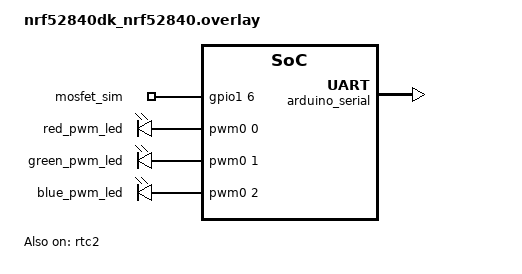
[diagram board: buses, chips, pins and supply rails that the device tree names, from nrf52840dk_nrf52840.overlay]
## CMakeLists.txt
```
cmake_minimum_required(VERSION 3.20.0)

find_package(Zephyr REQUIRED HINTS $ENV{ZEPHYR_BASE})
project(hub)

target_sources(app PRIVATE
  src/main.cpp
  src/utilities.cpp
  src/network.cpp
  src/token_settings.c
  src/ble.cpp
  src/serial.cpp
  src/alarm.c
  src/location.cpp
  src/network_requests.cpp
  src/conf.cpp
  src/battery.cpp
  src/diagnostic.cpp
)
```

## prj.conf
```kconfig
# Logging config
CONFIG_PRINTK=y
# CONFIG_LOG=y
# CONFIG_LOG_BACKEND_UART=y
# CONFIG_LOG_BACKEND_FORMAT_TIMESTAMP=n
# CONFIG_LOG_TRACE_SHORT_TIMESTAMP=y
# CONFIG_LOG_DEFAULT_LEVEL=4

# Uart over USB (CDC_ACM) config for nRF52840 Dongle
# COMMENT OUT BELOW FOR nRF52840 DK
CONFIG_USB_DEVICE_STACK=y
CONFIG_USB_DEVICE_PRODUCT="Zephyr USB console sample"
CONFIG_SERIAL=y
CONFIG_CONSOLE=y
CONFIG_UART_CONSOLE=y
CONFIG_UART_LINE_CTRL=y
CONFIG_USB_DEVICE_PID=0x0004
CONFIG_USB_DEVICE_INITIALIZE_AT_BOOT=n


# CPP and core libraries config
CONFIG_CPP=y
CONFIG_FPU=y

# Networking
CONFIG_CJSON_LIB=y
CONFIG_NEWLIB_LIBC=y
CONFIG_NEWLIB_LIBC_FLOAT_PRINTF=y

# Peristent data storage config
CONFIG_FLASH=y
CONFIG_FLASH_MAP=y
CONFIG_SETTINGS=y
CONFIG_NVS=y
CONFIG_SETTINGS_NVS=y

# LED config
CONFIG_PWM=y

# Bluetooth config
CONFIG_BT=y
CONFIG_BT_MAX_CONN=2

CONFIG_BT_PERIPHERAL=y
CONFIG_BT_DEVICE_NAME="HandleIt Hub"
CONFIG_BT_DEBUG_LOG=y
# CONFIG_BT_LOG_LEVEL_INF=y
CONFIG_BT_BAS=y

CONFIG_BT_CENTRAL=y
CONFIG_BT_SCAN=y
CONFIG_BT_SCAN_FILTER_ENABLE=y
CONFIG_BT_SCAN_NAME_CNT=1
# CONFIG_BT_BACKGROUND_SCAN_INTERVAL=8192
# CONFIG_BT_BACKGROUND_SCAN_WINDOW=18

# Needed for using GATT_DM
CONFIG_BT_SMP=y
CONFIG_BT_GATT_CLIENT=y
CONFIG_BT_GATT_DM=y
CONFIG_HEAP_MEM_POOL_SIZE=1024
CONFIG_BT_GATT_DM_DATA_PRINT=y
CONFIG_BT_DIS=y
CONFIG_BT_DIS_SW_REV=y
CONFIG_BT_BAS_CLIENT=y

# Adding sensors fails without this https://github.com/zephyrproject-rtos/zephyr/issues/13396
CONFIG_BT_AUTO_PHY_UPDATE=n

######### START OTA DFU
# In future we might be able to switch to this command. Currently it increases memory usage
# CONFIG_NCS_SAMPLE_MCUMGR_BT_OTA_DFU=y
# Enable mcumgr
CONFIG_MCUMGR=y
CONFIG_ZCBOR=y
# Enable most core commands
CONFIG_IMG_MANAGER=y
CONFIG_STREAM_FLASH=y
CONFIG_MCUMGR_GRP_IMG=y
CONFIG_MCUMGR_GRP_OS=y
# Ensure an MCUboot-compatible binary is generated
CONFIG_BOOTLOADER_MCUBOOT=y
# Allow for large Bluetooth data packets
CONFIG_BT_L2CAP_TX_MTU=252
CONFIG_BT_BUF_ACL_RX_SIZE=256
# Enable the Bluetooth (unauthenticated) and shell mcumgr transports
CONFIG_MCUMGR_TRANSPORT_BT=y
CONFIG_MCUMGR_TRANSPORT_BT_AUTHEN=n
# Some command handlers require a large stack
CONFIG_SYSTEM_WORKQUEUE_STACK_SIZE=4096
########## END OTA DFU

# UART with SIM module config
CONFIG_SERIAL=y
CONFIG_UART_INTERRUPT_DRIVEN=y

# Alarms/counters
CONFIG_COUNTER=y

# Battery reading
CONFIG_ADC=y

# Development experience
# CONFIG_TEST=y
# CONFIG_RESET_ON_FATAL_ERROR=n
# CONFIG_THREAD_NAME=y
# CONFIG_STACK_USAGE=y
# CONFIG_THREAD_ANALYZER=y
# CONFIG_THREAD_ANALYZER_AUTO=y
# CONFIG_INIT_STACKS=y
# CONFIG_THREAD_STACK_INFO=y
# CONFIG_THREAD_RUNTIME_STATS=y

# ROM size shrinking
# CONFIG_SIZE_OPTIMIZATIONS=y

######### START PRUNING UNUSED CONFIGS
# Disable Bluetooth features not needed
CONFIG_BT_DEBUG_NONE=y
CONFIG_BT_ASSERT=n
CONFIG_BT_DATA_LEN_UPDATE=n
CONFIG_BT_PHY_UPDATE=n
CONFIG_BT_GATT_CACHING=n
# CONFIG_BT_GATT_SERVICE_CHANGED=n
CONFIG_BT_GAP_PERIPHERAL_PREF_PARAMS=n
# CONFIG_BT_SETTINGS_CCC_LAZY_LOADING=y
CONFIG_BT_HCI_VS_EXT=n

# Disable Bluetooth controller features not needed
CONFIG_BT_CTLR_PRIVACY=n
CONFIG_BT_CTLR_PHY_2M=n
```

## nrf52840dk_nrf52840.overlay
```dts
// To get started, press Ctrl+Space to bring up the completion menu and view the available nodes.

// You can also use the buttons in the sidebar to perform actions on nodes.
// Actions currently available include:

// * Enabling / disabling the node
// * Adding the bus to a bus
// * Removing the node
// * Connecting ADC channels

// For more help, browse the DeviceTree documentation at https://docs.zephyrproject.org/latest/guides/dts/index.html
// You can also visit the nRF DeviceTree extension documentation at https://nrfconnect.github.io/vscode-nrf-connect/devicetree/nrfdevicetree.html

&pwm0_default {
	group1 {
		psels = <NRF_PSEL(PWM_OUT0, 1, 3)>,
                <NRF_PSEL(PWM_OUT1, 1, 4)>,
                <NRF_PSEL(PWM_OUT2, 1, 5)>;
		nordic,invert;
	};
};
&pwm0_sleep {
	group1 {
		psels = <NRF_PSEL(PWM_OUT0, 1, 3)>,
                <NRF_PSEL(PWM_OUT1, 1, 4)>,
                <NRF_PSEL(PWM_OUT2, 1, 5)>;
		low-power-enable;
	};
};

uart1: &arduino_serial{
    status = "okay";
};
&rtc2 {
    status = "okay";
};
/ {
    mosfets {
        compatible = "gpio-keys";
        // Gate for SIM7000
        mosfet_sim: mosfet_0 {
            gpios = <&gpio1 6 (GPIO_PULL_DOWN | GPIO_ACTIVE_HIGH)>;
        };
    };
    
    pwmleds {
        compatible = "pwm-leds";

        red_pwm_led: red_pwm_led {
            pwms = <&pwm0 0 PWM_MSEC(20) PWM_POLARITY_NORMAL>;
        };
        green_pwm_led: green_pwm_led {
            pwms = <&pwm0 1 PWM_MSEC(20) PWM_POLARITY_NORMAL>;
        };
        blue_pwm_led: blue_pwm_led {
            pwms = <&pwm0 2 PWM_MSEC(20) PWM_POLARITY_NORMAL>;
        };
    };
};
```

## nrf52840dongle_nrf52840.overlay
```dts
// To get started, press Ctrl+Space to bring up the completion menu and view the available nodes.

// You can also use the buttons in the sidebar to perform actions on nodes.
// Actions currently available include:

// * Enabling / disabling the node
// * Adding the bus to a bus
// * Removing the node
// * Connecting ADC channels

// For more help, browse the DeviceTree documentation at https://docs.zephyrproject.org/latest/guides/dts/index.html
// You can also visit the nRF DeviceTree extension documentation at https://nrfconnect.github.io/vscode-nrf-connect/devicetree/nrfdevicetree.html

// Available pins counterclockwise from top left (usb up)
// ## left side ##
// gpio0    13
// gpio0    15
// gpio0    17  uart0 rts
// gpio0    20  uart0 tx
// gpio0    22  uart0 cts
// gpio0    24  uart0 rx
// gpio1    0
// gpio0    9	+uart1 rx
// gpio0    10  +uart1 tx
// GND

// GND
// gpio1    10
// gpio1    13  spi1 miso
// gpio1    15  +mosfet_sim
// gpio0    2
// gpio0    29	+ain5
// gpio0    31  spi1 sck
// GND
// VDD OUT
// VBUS

&rtc2 {
	status = "okay";
};
&uart0 {
    compatible = "nordic,nrf-uart"; 
    status = "okay";  
    current-speed = <115200>;
  };
  
&uart1{
	status = "okay";
	current-speed = <115200>;
	pinctrl-0 = <&uart1_default>;
	pinctrl-1 = <&uart1_sleep>;
	pinctrl-names = "default", "sleep";
};

&pinctrl {
    uart1_default: uart1_default {
		group1 {
			psels = <NRF_PSEL(UART_RX, 0, 9)>;
			bias-pull-up;
		};
		group2 {
			psels = <NRF_PSEL(UART_TX, 0, 10)>;
		};
	};

	uart1_sleep: uart1_sleep {
		group1 {
			psels = <NRF_PSEL(UART_RX, 0, 9)>,
				<NRF_PSEL(UART_TX, 0, 10)>;
			low-power-enable;
		};
	};
};

/ {
    mosfets {
        compatible = "gpio-keys";
		// Gate for SIM7000
        mosfet_sim: mosfet_0 {
            gpios = <&gpio1 15 (GPIO_PULL_DOWN | GPIO_ACTIVE_HIGH)>;
        };
    };
};

// For UART over USB
/ {
	chosen {
		zephyr,console = &cdc_acm_uart0;
	};
};

&zephyr_udc0 {
	cdc_acm_uart0: cdc_acm_uart0 {
		compatible = "zephyr,cdc-acm-uart";
	};
};
```

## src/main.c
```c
#include <zephyr.h>
#include <logging/log.h>
LOG_MODULE_REGISTER(main, CONFIG_LOG_DEFAULT_LEVEL);

#include "utilities.h"

void main(void)
{
  LOG_INF("Booting...");
  LOG_INF("Board: %s", CONFIG_BOARD);
  Utilities.setup_pins();

  Utilities.happy_dance();
  Utilities.rgb_write(0, 0, 0, true);

  // TODO Start UART1 connection to SIM7000

  // TODO network.setPower(true);

  // TODO network.waitForConnection();


  while (1) {

    k_msleep(10);
  }

  // TODO get interrupt for pair button
}
```

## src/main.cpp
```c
#include <zephyr/kernel.h>
#include <zephyr/sys/printk.h>
#include <string.h>
#include <cJSON.h>

#include "utilities.h"
#include "battery.h"
#include "network_requests.h"
#include "network.h"
#include "location.h"
#include "ble.h"
#include "version.h"
#include "serial.h"
#include "diagnostic.h"

// UART over USB
#ifdef CONFIG_UART_LINE_CTRL
#include <zephyr/usb/usb_device.h>
#include <zephyr/drivers/uart.h>
BUILD_ASSERT(DT_NODE_HAS_COMPAT(DT_CHOSEN(zephyr_console), zephyr_cdc_acm_uart),
  "Console device is not ACM CDC UART device");
#endif

Network network;
Location location;
NetworkRequests network_requests;

static k_work_delayable work;
struct k_work_q periodic_work_q;
K_THREAD_STACK_DEFINE(periodic_stack_area, 2048);
const k_work_queue_config periodic_work_q_config = {
  .name = "periodic_work_q",
};

static void handle_loop_work(struct k_work* work_item) {
  if (network.has_token() && !ble_is_busy() && !diagnostic_running) {
    printk("⏰  [%lld] Bat: %d%%, Checking if background work is scheduled...", k_uptime_get(), last_batt_reading.percent);
    if(last_batt_reading.percent <= 5) {
      Utilities::write_rgb_low_battery();
    } else if (battery_should_send_update()) {
      battery_update();
    } else if (location.should_warm_up()) {
      battery_update_cache();
      if(last_batt_reading.percent > 10) location.start_warm_up();
    } else if (location.should_send_update()) {
      location.send_update(last_batt_reading.real_mV, last_batt_reading.percent);
    }
    printk("\tBackground work complete\n");
  }

  k_work_schedule(&work, K_SECONDS(10));
}

int main(void)
{
  // UART over USB
#ifdef CONFIG_UART_LINE_CTRL
  const struct device* dev = DEVICE_DT_GET(DT_CHOSEN(zephyr_console));
  uint32_t dtr = 0;
  if (usb_enable(NULL)) {
    return 0;
  }
  /* Poll if the DTR flag was set, DO NOT SET TO WHILE or device will wait until console connected */
  if (!dtr) {
    uart_line_ctrl_get(dev, UART_LINE_CTRL_DTR, &dtr);
    /* Give CPU resources to low priority threads. */
    k_sleep(K_MSEC(100));
  }
#endif

  int64_t boot_time = k_uptime_get();
  printk("############### Sketch version %s ###############\n", VERSION);
  printk("Booting...\n");
  printk("Board: %s\n", CONFIG_BOARD);
  Utilities::setup_pins();
  k_msleep(1000);

  printk("Starting dance\n");
  Utilities::happy_dance();
  printk("\t✔️  Dance complete\n");

  printk("Checking for peripheral connections to SIM module...\n");
  if (network.init() != 0) {
    printk("\tSIM module failed to initialize\n");
    return 1;
  }
  printk("\t✔️   SIM peripherals ready\n");

  network_requests.init(&network);
  location.init(&network, &network_requests);

  // TODO battery init should store battery level when modem off
  printk("Initializing Battery functionality...\n");
  if (battery_init(&network_requests)) {
    printk("Battery init failed\n");
    return 1;
  }
  while(battery_read().percent < 5) {
    Utilities::write_rgb_low_battery();
    
    k_msleep(10000);
  }
  battery_update_cache();

  network.set_power(true);

  while (!network.wait_for_power_on()) {
    printk("\tSIM module failed to power on, retrying\n");
  }

  location.set_gps_power(false);

  printk("\tLocation turned off\n");
  while (!network.configure_modem()) {
    printk("\tSIM module failed to be configured, retrying\n");
  }

  while (strlen(network.device_imei) < 1) {
    network.get_imei();
    printk("\tDevice IMEI: %s\n", network.device_imei);
  }
  printk("\t✔️  SIM module setup complete\n");

  printk("Intializing BLE peripheral, RTC, and button driven interrupts...\n");
  if (init_ble(&network_requests, &network) == 0) {
    printk("\t✔️  BLE, RTC, and IRQs ready\n");
  } else return 1;

  printk("Checking peristent storage for saved configs...\n");
  network.initialize_access_token();
  printk("\t✔️  Persistent storage ready\n");

  if (network.has_token() && network.set_power_on_and_wait_for_reg()) {
    char sensor_query[] = "{\\\"query\\\":\\\"query getMySensors{hubViewer{sensors{id,serial}}}\\\",\\\"variables\\\":{}}";
    cJSON* doc = network.send_request(sensor_query);
    cJSON* sensors = cJSON_GetObjectItem(cJSON_GetObjectItem(cJSON_GetObjectItem(doc, "data"), "hubViewer"), "sensors");
    if (cJSON_GetArraySize(sensors)) {
      cJSON* sensor;
      printk("Array size is %d\n", cJSON_GetArraySize(sensors));
      cJSON_ArrayForEach(sensor, sensors) {
        printk("Sensor id %d, and serial is %s\n",
          cJSON_GetObjectItem(sensor, "id")->valueint,
          cJSON_GetObjectItem(sensor, "serial")->valuestring
        );
        add_known_sensor(cJSON_GetObjectItem(sensor, "serial")->valuestring);
      }
    }
    cJSON_Delete(doc);
  }

  network.set_power(false);

  printk("\n>>>>> Setup complete in %lli(ms)! <<<<<\n\n", k_uptime_delta(&boot_time));

  k_msleep(1000);
  printk(">>>> Starting main loop <<<<\n");
  k_msleep(2000);
  start_scan();

  k_work_queue_start(&periodic_work_q, periodic_stack_area,
    K_THREAD_STACK_SIZEOF(periodic_stack_area),
    CONFIG_MAIN_THREAD_PRIORITY + 1, &periodic_work_q_config);
  k_work_init_delayable(&work, handle_loop_work);
  k_work_schedule(&work, K_SECONDS(10));

  return 0;
}
```

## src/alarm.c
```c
#include <zephyr/drivers/gpio.h>
#include <zephyr/drivers/counter.h>
#include <zephyr/sys/printk.h>
#include <zephyr/kernel.h>
#include <zephyr/device.h>

#include "alarm.h"

#define HOLD_DELAY 3 * 1000 * 1000
#define ADV_TIMEOUT 1 * 1000 * 1000
#define BUTTON_HOLD_CHANNEL_ID 0
#define ADV_DURATION_CHANNEL_ID 1

static const struct device* counter_dev = DEVICE_DT_GET(DT_NODELABEL(rtc2));

static struct counter_alarm_cfg button_hold_cfg;
static struct counter_alarm_cfg adv_timeout_cfg;

static const struct gpio_dt_spec button = GPIO_DT_SPEC_GET(DT_ALIAS(sw0), gpios);
static struct gpio_callback button_cb_data;

static bool adv_alarm_running = false;
bool was_pressed = false;

typedef int (*callback_ptr_t)(void);
struct work_info {
  struct k_work work;
  callback_ptr_t callback;
} cb_work;

static callback_ptr_t default_cb = NULL;
static callback_ptr_t* multi_tap_cb = &default_cb;

static void cb_work_fn(struct k_work* work_item) {
  struct work_info* button_struct = CONTAINER_OF(work_item, struct work_info, work);
  button_struct->callback();
}

void alarm_adv_counter_set(void) {
  counter_start(counter_dev);
  adv_alarm_running = true;
  counter_set_channel_alarm(counter_dev, ADV_DURATION_CHANNEL_ID, &adv_timeout_cfg);
}

void alarm_adv_counter_cancel(void) {
  counter_stop(counter_dev);
  adv_alarm_running = false;
  counter_cancel_channel_alarm(counter_dev, ADV_DURATION_CHANNEL_ID);
}

static uint8_t diagnostic_trigger_count = 0;
static int64_t last_trigger_time = 0;
static void register_press(void) {
  int64_t ms = k_uptime_get();
  if (ms - last_trigger_time < 500) {
    diagnostic_trigger_count++;
  } else {
    diagnostic_trigger_count = 1;
  }
  last_trigger_time = ms;
  if (diagnostic_trigger_count == 4) {
    printk("\n**Diagnostic mode triggered**\n\n");
    diagnostic_trigger_count = 0;
    (*multi_tap_cb)();
  }
}

static void button_pressed(const struct device* port, struct gpio_callback* cb, gpio_port_pins_t pins) {
  int is_pressed_now = gpio_pin_get_dt(&button);
  uint32_t ticks;
  counter_get_value(counter_dev, &ticks);
  uint32_t us = counter_ticks_to_us(counter_dev, ticks);
  printk("[%us] Button %s\n", us / 1000 / 1000, is_pressed_now ? "pressed" : "released");
  int ret = 0;

  if (is_pressed_now && !was_pressed) {
    ret |= counter_start(counter_dev);
    ret |= counter_set_channel_alarm(counter_dev, BUTTON_HOLD_CHANNEL_ID, &button_hold_cfg);
    if (ret != 0) printk("Error setting counter alarms\n");
  } else if (!is_pressed_now && was_pressed) {
    if (!adv_alarm_running) counter_stop(counter_dev);
    counter_cancel_channel_alarm(counter_dev, BUTTON_HOLD_CHANNEL_ID);
    // TODO reset counter somehow
  }
  was_pressed = is_pressed_now;

  if(!is_pressed_now) register_press();
}

// Internal helper callback that meets the callback function signature
// to simplify exposed interface
static void internal_adv_timeout_cb(const struct device* counter_dev,
  uint8_t chan_id, uint32_t ticks, void* user_data)
{
  callback_ptr_t adv_timeout_cb = user_data;
  cb_work.callback = adv_timeout_cb;
  k_work_submit(&cb_work.work);
}

// Internal helper callback that meets the callback function signature
// to simplify exposed interface
static void internal_button_hold_cb(const struct device* counter_dev,
  uint8_t chan_id, uint32_t ticks, void* user_data)
{
  callback_ptr_t button_hold_cb = user_data;
  // In an IRQ, so the heavy lifting here needs to be done on a work queue
  cb_work.callback = button_hold_cb;
  k_work_submit(&cb_work.work);
}

int alarm_init(int (*button_hold_cb)(void), int (*adv_timeout_cb)(void), int (*diagnostic_trigger_cb)(void)) {
  if (!device_is_ready(button.port)) {
    printk("Button not ready\n");
    return -1;
  }
  if(!device_is_ready(counter_dev)) {
    printk("Counter not ready\n");
    return -1;
  }

  int ret = 0;
  ret |= gpio_pin_configure_dt(&button, GPIO_INPUT);
  ret |= gpio_pin_interrupt_configure_dt(&button, GPIO_INT_EDGE_BOTH);
  if (ret != 0) {
    printk("error configuring gpio_pins\n");
    return ret;
  }
  gpio_init_callback(&button_cb_data, button_pressed, BIT(button.pin));
  ret |= gpio_add_callback(button.port, &button_cb_data);
  if (ret != 0) {
    printk("error adding gpio callbacks\n");
    return ret;
  }
  printk("\tButton GPIO online\n");

  button_hold_cfg.flags = 0;
  button_hold_cfg.ticks = counter_us_to_ticks(counter_dev, HOLD_DELAY);
  button_hold_cfg.callback = internal_button_hold_cb;
  button_hold_cfg.user_data = button_hold_cb;

  adv_timeout_cfg.flags = 0;
  adv_timeout_cfg.ticks = counter_us_to_ticks(counter_dev, ADV_TIMEOUT);
  adv_timeout_cfg.callback = internal_adv_timeout_cb;
  adv_timeout_cfg.user_data = adv_timeout_cb;

  *multi_tap_cb = diagnostic_trigger_cb;

  k_work_init(&cb_work.work, cb_work_fn);

  printk("\tCounters using RTC2 online\n");

  printk("\t\t%d alarm channels available on RTC2\n", counter_get_num_of_channels(counter_dev));
  printk("\t\tRTC2 frequency: %dKHz\n", counter_get_frequency(counter_dev));

  return 0;
}
```

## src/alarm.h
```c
#ifndef HUB_ALARM_H
#define HUB_ALARM_H

#ifdef __cplusplus
extern "C" {
#endif

  // If the ble button is currently pressed
  extern bool was_pressed;

  /**
   * @brief Setup button GPIO configuration and initialize alarms
   * @param button_hold_cb Pointer to callback which will be called when button
   * has been held long enough to start advertising
   * @param adv_timeout_cb Pointer to callback which will be called when advertising
   * exceeds timeout duration
   * @param diagnostic_trigger_cb Pointer to callback which will be called when diagnostic
   * mode is triggered (button tapped 4 times)
   * @return 0 on success, other numbers on error
   */
  int alarm_init(int (*button_hold_cb)(void), int (*adv_timeout_cb)(void), int (*diagnostic_trigger_cb)(void));

  /**
   * @brief Starts the advertising counter, callback set in alarm_init will be called
   * if advertising exceeds duration
   */
  void alarm_adv_counter_set(void);

  /**
   * @brief Manually cancel the advertising counter
   */
  void alarm_adv_counter_cancel(void);

#ifdef __cplusplus
}
#endif

#endif
```

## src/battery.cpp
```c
#include <zephyr/drivers/adc.h>
#include <zephyr/sys/printk.h>
#include <zephyr/sys/util.h>
#include <hal/nrf_saadc.h>

#include "battery.h"
#include "network_requests.h"

#define ADC_RESOLUTION        10
// Offset needed to align with multimeter
#define ADC_OFFSET            1
#define ADC_GAIN              ADC_GAIN_1_4
// Max pin reading millivolts - 0.6(ref) / 1/4(gain) = 2.4v
#define ADC_MAX_MV            2400
// With voltage dividing in half from a 4.2v(max) battery
#define BATT_MAX_MV           2100
#define BATT_MIN_MV           1600
static const int BATT_RANGE = BATT_MAX_MV - BATT_MIN_MV;
#define ADC_REFERENCE         ADC_REF_INTERNAL
#define ADC_ACQUISITION_TIME  ADC_ACQ_TIME(ADC_ACQ_TIME_MICROSECONDS, 10)
// Channels are pre-mapped to pins, 5 is AIN5
// https://infocenter.nordicsemi.com/topic/ps_nrf52840/pin.html?cp=4_0_0_6_0_0#aqfn73
// https://infocenter.nordicsemi.com/topic/ug_nrf52840_dk/UG/dk/hw_analog_pins.html
#define ADC_CHANNEL_ID        5

static const struct device* adc_dev = DEVICE_DT_GET(DT_NODELABEL(adc));

static const struct adc_channel_cfg channel_cfg = {
  .gain = ADC_GAIN,
  .reference = ADC_REFERENCE,
  .acquisition_time = ADC_ACQUISITION_TIME,
  .channel_id = ADC_CHANNEL_ID,
  #if defined(CONFIG_ADC_CONFIGURABLE_INPUTS)
  // This dictates which pin to use
  .input_positive = NRF_SAADC_INPUT_AIN5,
#endif
};

static int16_t m_sample_buffer[1];
static int64_t battery_last_update;
static NetworkRequests* network_reqs;

const struct adc_sequence sequence = {
  .channels = BIT(ADC_CHANNEL_ID),
  .buffer = m_sample_buffer,
  .buffer_size = sizeof(m_sample_buffer),
  .resolution = ADC_RESOLUTION,
  .oversampling = 8,
  .calibrate = true,
};

struct batt_reading_t last_batt_reading;

bool battery_should_send_update(void) {
  return battery_last_update == 0 || k_uptime_get() > battery_last_update + BATTERY_UPDATE_INTERVAL;
}

int battery_update(void) {
  batt_reading_t r = battery_read();
  if (r.real_mV < 1) return -1;

  int err = network_reqs->handle_update_battery_level(r.real_mV, r.percent);
  if (err) {
    printk("Failed to update the battery level, skipping this period\n");
  }
  battery_last_update = k_uptime_get();
  return err;
}

int battery_init(NetworkRequests* network_requests) {
  int ret;

  network_reqs = network_requests;

  if (!device_is_ready(adc_dev)) {
    printk("ADC not ready\n");
    return -1;
  }

  ret = adc_channel_setup(adc_dev, &channel_cfg);
  if (ret) {
    printk("Error in adc setup: %d\n", ret);
  }
  return ret;
}

void battery_update_cache(void) {
  last_batt_reading = battery_read();
}

struct batt_reading_t battery_read(void) {
  struct batt_reading_t r;

  int ret = adc_read(adc_dev, &sequence);
  if (ret) {
    printk("Error in adc sampling: %d\n", ret);
  } else {
    r.raw = m_sample_buffer[0] + ADC_OFFSET;
    r.halved_mV = r.raw * ADC_MAX_MV / 1023;
    int remaining_mV = CLAMP(r.halved_mV - BATT_MIN_MV, 0, BATT_RANGE);
    r.percent = (remaining_mV * 100) / BATT_RANGE;
    r.real_mV = r.halved_mV * 2; // account for my external voltage divider

    printk("\tADC raw: %d, mV: %d, batt: %d, %d%%\n",
      r.raw, r.halved_mV, r.real_mV, r.percent);
  }

  return r;
}
```

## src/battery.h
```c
#ifndef HUB_BATTERY_H
#define HUB_BATTERY_H

#include <stdint.h>
#include "network_requests.h"


#define BATTERY_UPDATE_INTERVAL   12 * 60 * 60 * 1000LL

#ifdef __cplusplus
extern "C" {
#endif

  struct batt_reading_t {
    // raw the raw reading from the pin 0 - 1023
    int raw;
    // halved_mV conversion from raw to millivolts
    int halved_mV;
    // real_mV the estimated actual mV of the battery, based on batt config
    int real_mV;
    // percent the remaining percentage of battery, based on batt config
    uint8_t percent;
  };

  extern batt_reading_t last_batt_reading;

  /**
   * @return Whether we meet the criteria at this moment to send a battery update
   */
  bool battery_should_send_update(void);

  /**
   * @brief Blocks while performing a read and then sending the battery level
   * @return 0 on success
   */
  int battery_update(void);

  /**
   * @brief Initialize the ADC. Needed before reading voltage
   * @param network_requests ptr to the NetworkRequest instance for updating the bat level
   * @return 0 on success
   */
  int battery_init(NetworkRequests* network_requests);

  /**
   * @brief Perform a blocking read to update the cached read {@link last_batt_reading}
   * this should be done when the battery is being minimally used
  */
  void battery_update_cache(void);

  /**
   * @brief Perform a blocking read of ADC2 (pin 4) and get results
   * @return batt_reading_t struct containing mV readings and percent remaining
   */
  struct batt_reading_t battery_read(void);

#ifdef __cplusplus
}
#endif

#endif
```

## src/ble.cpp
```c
#include <zephyr/bluetooth/bluetooth.h>
#include <zephyr/bluetooth/hci.h>
#include <zephyr/bluetooth/conn.h>
#include <zephyr/bluetooth/uuid.h>
#include <zephyr/bluetooth/gatt.h>
#include <bluetooth/gatt_dm.h>
#include <bluetooth/scan.h>
#include <bluetooth/services/bas_client.h>
#include <zephyr/bluetooth/services/bas.h>
#include <zephyr/sys/printk.h>

// DFU OTA
#include "version.h"

#include "ble.h"
#include "battery.h"
#include "alarm.h"
#include "utilities.h"
#include "network_requests.h"
#include "network.h"
#include "diagnostic.h"

#define DEVICE_NAME			  CONFIG_BT_DEVICE_NAME
#define DEVICE_NAME_LEN		(sizeof(DEVICE_NAME) - 1)

#define PERIPHERAL_NAME	"HandleIt Client"

#define BLE_COOLDOWN_MS   30 * 1000
#define ADV_DURATION_MS		30 * 1000

#define BT_UUID_HUB_SERVICE_VAL      BT_UUID_128_ENCODE(0x0000181a, 0x0000, 0x1000, 0x8000, 0x00805f9b34fc)

static struct bt_uuid_128 hub_svc_uuid = BT_UUID_INIT_128(BT_UUID_HUB_SERVICE_VAL);
static struct bt_uuid_128 command_char_uuid = BT_UUID_INIT_128(BT_UUID_128_ENCODE(0x00002A58, 0x0000, 0x1000, 0x8000, 0x00805f9b34fd));
#define FIRMWARE_VERSION_CHAR   BT_UUID_DIS_FIRMWARE_REVISION

struct k_work work;
struct k_work_q ble_work_q;
K_THREAD_STACK_DEFINE(ble_stack_area, 4096);
const k_work_queue_config ble_work_q_config = {
  .name = "ble_work_q",
};

// Don't change these during discovery!
static char command_char_val[210];
static char version[] = VERSION;

#define MAC_ADDR_LEN      18
char hub_mac[MAC_ADDR_LEN];
/**
 *  Weird hack to support iOS devices
 * Storing MAC in Manufacturer data so iOS can read it
 * First 2 bytes are mock company ID, then 6 bytes of mac address
 */
#define MANU_ID_LEN           2
#define MANU_DATA_LEN         BT_ADDR_SIZE + MANU_ID_LEN
static uint8_t hub_mac_bytes[MANU_DATA_LEN] = {0, 0};

const char* COMMAND_START_SENSOR_SEARCH = "StartSensorSearch";
const char* COMMAND_SENSOR_CONNECT = "SensorConnect";
const char* COMMAND_START_DIAGNOSTIC = "StartDiagnostic";
const char* COMMAND_DIAGNOSTIC_RESULT = "DiagnosticResult";

static struct bt_conn* phone_conn;
static struct bt_conn* sensor_conn;

// Have to declare here to avoid "taking address of temporary array" error
const struct bt_le_adv_param* adv_param = BT_LE_ADV_CONN;
const struct bt_le_scan_param* scan_param = BT_LE_SCAN_ACTIVE;
const struct bt_conn_le_create_param* create_param = BT_CONN_LE_CREATE_CONN;
const struct bt_le_conn_param* conn_param = BT_LE_CONN_PARAM_DEFAULT;

static NetworkRequests* network_reqs;
static Network* network;

int64_t adv_start_time;
int64_t last_event_time;
bool is_adding_new_sensor = false;
bool is_making_network_request = false;

// 10 available address slots
char known_sensor_addrs[10][50];
uint8_t known_sensor_addrs_len;

static struct sensor_details_t sensor_details;
static uint8_t door_column;
static uint8_t door_row;

static void handle_sensor_search_work(struct k_work* work_item) {
  printk("handling sensor search work\n");
  is_adding_new_sensor = true;
  start_scan();
}

static void handle_add_sensor_work(struct k_work* work_item) {
  printk("handling add sensor work\n");
  char addr[MAC_ADDR_LEN];
  bt_addr_le_to_str(bt_conn_get_dst(sensor_conn), addr, sizeof(addr));
  addr[MAC_ADDR_LEN - 1] = '\0';

  size_t err_size = 210;
  char err_msg[err_size] = "";
  is_making_network_request = true;
  int err = network_reqs->handle_add_new_sensor(addr, &sensor_details, door_column, door_row, err_msg);
  is_making_network_request = false;
  if (err) {
    printk("Unable to add sensor\n");
    snprintk(command_char_val, err_size, "Error:%s", err_msg);
  } else {
    add_known_sensor(addr);
    if (phone_conn) {
      // TODO Use notify
      strcpy(command_char_val, "SensorAdded:1");
    }
  }
  bt_conn_disconnect(sensor_conn, BT_HCI_ERR_REMOTE_USER_TERM_CONN);
}

static void diagnostic_work(struct k_work* work_item) {
  printk("handling diagnostic work\n");
  char result_msg[210] = "";
  diagnostic_run(result_msg);
  k_msleep(200);
  while(diagnostic_running) {
    k_msleep(100);
    snprintk(command_char_val, 200, "%s:%s", COMMAND_DIAGNOSTIC_RESULT, result_msg);
  }
  k_msleep(2000);
  snprintk(command_char_val, 30, "%s:END", COMMAND_DIAGNOSTIC_RESULT);
}

static ssize_t read_command_char(struct bt_conn* conn, const struct bt_gatt_attr* attr,
  void* buf, uint16_t len, uint16_t offset)
{
  const char* value = (const char*)attr->user_data;
  printk("Read command attempt and it's %s\n", command_char_val);

  return bt_gatt_attr_read(conn, attr, buf, len, offset, value, strlen(value));
}

static ssize_t write_command_char(struct bt_conn* conn, const struct bt_gatt_attr* attr,
  const void* buf, uint16_t len, uint16_t offset, uint8_t flags)
{
  uint8_t* value = (uint8_t*)attr->user_data;

  if (offset + len > 30) {
    return BT_GATT_ERR(BT_ATT_ERR_INVALID_OFFSET);
  }

  memcpy(value + offset, buf, len);
  value[offset + len] = 0;

  printk("\nWrite command attempt: %s\n", (char*)value);
  if (strlen((char*)value)) {
    Command command = Utilities::parse_raw_command((char*)value);
    if (strcmp(command.type, COMMAND_START_SENSOR_SEARCH) == 0) {
      k_work_init(&work, handle_sensor_search_work);
      k_work_submit_to_queue(&ble_work_q, &work);
    } else if (strcmp(command.type, COMMAND_SENSOR_CONNECT) == 0) {
      door_column = command.value[0] - '0';
      door_row = command.value[1] - '0';
      printk("Connecting to sensor at door_column %u, door_row %u\n", door_column, door_row);
      k_work_init(&work, handle_add_sensor_work);
      k_work_submit_to_queue(&ble_work_q, &work);
    } else if (strcmp(command.type, COMMAND_START_DIAGNOSTIC) == 0) {
      printk("Starting diagnostic\n");
      k_work_init(&work, diagnostic_work);
      k_work_submit_to_queue(&ble_work_q, &work);
    }
  }

  return len;
}

static ssize_t read_version_char(struct bt_conn* conn, const struct bt_gatt_attr* attr,
  void* buf, uint16_t len, uint16_t offset)
{
  const char* value = (const char*)attr->user_data;
  printk("Read version attempt and version: %s\n", value);

  return bt_gatt_attr_read(conn, attr, buf, len, offset, value, strlen(value));
}

BT_GATT_SERVICE_DEFINE(hub_svc,
  BT_GATT_PRIMARY_SERVICE(&hub_svc_uuid),
  BT_GATT_CHARACTERISTIC(&command_char_uuid.uuid,
    BT_GATT_CHRC_READ | BT_GATT_CHRC_WRITE | BT_GATT_CHRC_NOTIFY,
    BT_GATT_PERM_READ | BT_GATT_PERM_WRITE,
    read_command_char, write_command_char, command_char_val),
  BT_GATT_CCC(NULL, BT_GATT_PERM_READ | BT_GATT_PERM_WRITE),
  BT_GATT_CHARACTERISTIC(FIRMWARE_VERSION_CHAR,
    BT_GATT_CHRC_READ,
    BT_GATT_PERM_READ,
    read_version_char, NULL, version),
  );

static const struct bt_data ad[] = {
  BT_DATA_BYTES(BT_DATA_FLAGS, (BT_LE_AD_GENERAL | BT_LE_AD_NO_BREDR)),
  BT_DATA(BT_DATA_NAME_COMPLETE, DEVICE_NAME, DEVICE_NAME_LEN),
};

static struct bt_data sd[] = {
  BT_DATA_BYTES(BT_DATA_UUID128_SOME, BT_UUID_HUB_SERVICE_VAL),
  {
    .type = BT_DATA_MANUFACTURER_DATA,
    .data_len = MANU_DATA_LEN,
    .data = hub_mac_bytes,
  },
};


bool ble_is_busy() {
  return adv_start_time > 0 || phone_conn || sensor_conn || last_event_time > 0 || was_pressed;
}

int advertise_start(void) {
  if (adv_start_time > 0) {
    printk("Already advertising\n");
    return -1;
  }
  int err;
  printk("Starting to advertise\n");
  err = bt_le_scan_stop();
  if (err) {
    printk("Error stopping scan (err %d)\n", err);
  }
  err = bt_le_adv_start(adv_param, ad, ARRAY_SIZE(ad), sd, ARRAY_SIZE(sd));
  if (err) {
    printk("Error starting to advertise (err %d)\n", err);
    return err;
  }
  network->set_power(true);
  adv_start_time = k_uptime_get();
  alarm_adv_counter_set();
  return 0;
}

int advertise_stop(void) {
  int err = bt_le_adv_stop();
  if (err) {
    printk("Error stopping advertisement (err %d)\n", err);
    return err;
  }
  printk("Stopped advertising after %lld seconds\n", (k_uptime_get() - adv_start_time) / 1000);
  adv_start_time = 0;
  Utilities::write_rgb(0, 0, 0);
  if (!phone_conn && !sensor_conn) {
    start_scan();
    network->set_power(false);
  }
  return 0;
}

int adv_led_interval_cb(void) {
  if (adv_start_time == 0) return -1;
  if (k_uptime_get() - adv_start_time >= ADV_DURATION_MS) {
    advertise_stop();
    return 1;
  }
  if ((k_uptime_get() / 1000) % 2 == 0) Utilities::write_rgb(75, 0, 130);
  else Utilities::write_rgb(75, 0, 80);
  alarm_adv_counter_set();
  return 0;
}


void scan_match(struct bt_scan_device_info* device_info, struct bt_scan_filter_match* filter_match, bool connectable) {
  if (last_event_time && k_uptime_get() < last_event_time + BLE_COOLDOWN_MS) {
    printk("-");
    return;
  } else last_event_time = 0;

  const bt_addr_le_t* addr_le = device_info->recv_info->addr;
  char addr_str[MAC_ADDR_LEN];
  bt_addr_le_to_str(addr_le, addr_str, sizeof(addr_str));
  addr_str[MAC_ADDR_LEN - 1] = '\0';
  printk("\t\t\t📱 Scanned MAC: %s, rssi: %d, connectable: %d\n",
    addr_str, device_info->recv_info->rssi, connectable);

  if (sensor_conn) {
    printk("Already connected to a sensor\n");
    return;
  }

  // determine if known sensor
  bool is_known_sensor = false;
  for (uint8_t i = 0; i < known_sensor_addrs_len; i++) {
    printk("Checking for a match with: %s\n", known_sensor_addrs[i]);
    if (strcmp(addr_str, known_sensor_addrs[i]) == 0) {
      is_known_sensor = true;
      break;
    }
  }

  // if we're not adding new sensors and it's unknown
  if (!is_adding_new_sensor && !is_known_sensor) {
    printk("Sensor hasn't been registered to this hub\n");
    return;
  }
  // if we're adding new sensors and it's already added
  if (is_adding_new_sensor && is_known_sensor) {
    printk("Sensor already registered to this hub\n");
    return;
  }

  // We found a Sensor!
  Utilities::write_rgb(255, 30, 0);
  printk("\nSENSOR ELIGIBLE FOR CONNECTION\n");

  int err = bt_le_scan_stop();
  if (err) {
    printk("Error stopping BLE scan (err %d)\n", err);
    return;
  }
  err = bt_conn_le_create(addr_le, create_param, conn_param, &sensor_conn);
  if (err) {
    Utilities::write_rgb(255, 0, 0);
    printk("\tError connecting to sensor 😭 Restarting scan...\n");
    k_msleep(1000L);
    start_scan();
    return;
  }

  if (is_adding_new_sensor) {
    printk("Waiting for command to connect~~~");
    // TODO Use notify
    snprintk(command_char_val, 13 + sizeof(addr_str), "SensorFound:%s", addr_str);
  }
}

void scan_error(struct bt_scan_device_info* device_info) {
  printk("scan_error\n");
}

void scan_conn(struct bt_scan_device_info* device_info, struct bt_conn* conn) {
  printk("scan_conn\n");
  sensor_conn = bt_conn_ref(conn);
}
BT_SCAN_CB_INIT(scan_cb, scan_match, NULL, scan_error, scan_conn);

static int scan_init(void) {
  int err;
  struct bt_scan_init_param scan_init_param = {
    .connect_if_match = 0,
  };

  bt_scan_init(&scan_init_param);
  bt_scan_cb_register(&scan_cb);

  err = bt_scan_filter_add(BT_SCAN_FILTER_TYPE_NAME, PERIPHERAL_NAME);
  if (err) {
    printk("Scanning filters cannot be set (err %d)\n", err);
    return err;
  }
  err = bt_scan_filter_enable(BT_SCAN_NAME_FILTER, true);
  if (err) {
    printk("Filters cannot be turned on (err %d)\n", err);
    return err;
  }

  return 0;
}

void start_scan(void)
{
  int err;

  err = bt_le_scan_start(scan_param, NULL);
  if (err) {
    printk("Scanning failed to start (err %d)\n", err);
    return;
  }
  printk("Hub scanning for peripheral...\n");
}


static void dis_discovery_completed_cb(struct bt_gatt_dm *dm, void *context);
static void bas_discovery_completed_cb(struct bt_gatt_dm *dm, void *context);

static const struct bt_gatt_dm_cb bas_discovery_cb = {
  .completed = bas_discovery_completed_cb,
};

const bt_gatt_dm_attr *batt_level_char;
const bt_gatt_dm_attr *batt_volts_char;
const bt_gatt_dm_attr *software_rev_char;
static struct bt_uuid_16 battery_svc_uuid = BT_UUID_INIT_16(BT_UUID_BAS_VAL);
static struct bt_uuid_16 device_info_uuid = BT_UUID_INIT_16(BT_UUID_DIS_VAL);

// 0x2a28 Software Revision String - value:(0x) 30-2E-31-2E-33-00 "0.1.3" recieved - response 02 12 00 28 2a
static uint8_t read_firmware_version_cb(struct bt_conn *conn, uint8_t err,
				    struct bt_gatt_read_params *params,
				    const void *data, uint16_t length)
{
  printk("Checking read_firmware_version...\n");
  if (err) {
    printk("Error reading firmware version characteristic (err %d)\n", err);
    return -1;
  }
  if (length > 0) {
    const char* firmware_version = (const char*)data;
    printk("Firmware version: %s\n", firmware_version); // "0.1.3"
    strncpy(sensor_details.firmware_version, firmware_version, sizeof(sensor_details.firmware_version));
  }
  return 0;
}

// 0x2a19 Battery Level - value:(0x) 64,"d" ... "100%" recieved - response 02 35 00 18 2b
static uint8_t read_battery_level_cb(struct bt_conn *conn, uint8_t err,
				    struct bt_gatt_read_params *params,
				    const void *data, uint16_t length)
{
  printk("Checking read_battery_level...\n");
  for(int i = 0; i < length; i++) {
    // print hex values of bytes in data
    printk("%02x ", ((uint8_t*)data)[i]);
  }
  printk("\n");
  if (err) {
    printk("Error reading battery level characteristic (err %d)\n", err);
    return -1;
  }
  if (length > 0) {
    uint8_t battery_level = *(uint8_t*)data;
    printk("Battery level: %u\n", battery_level);
    sensor_details.battery_level = battery_level;
  }
  return 0;
}

// 0x2b18 Voltage - "(0x) 0C-E3" recieved
static uint8_t read_battery_volts_cb(struct bt_conn *conn, uint8_t err,
				    struct bt_gatt_read_params *params,
				    const void *data, uint16_t length)
{
  printk("Checking read_battery_volts...\n");
  for(int i = 0; i < length; i++) {
    // print hex values of bytes in data
    printk("%02x ", ((uint8_t*)data)[i]);
  }
  printk("\n");
  if (err) {
    printk("Error reading battery level characteristic (err %d)\n", err);
    return -1;
  }
  if (length > 0) {
    // Assuming the data is big-endian
    const uint8_t *raw_data = (const uint8_t *)data;
    const uint16_t voltage = (raw_data[0] << 8) | raw_data[1];
    printk("Voltage is %u\n", voltage);
    sensor_details.battery_volts = voltage;
  }
  return 0;
}

struct bt_uuid *software_rev_uuid = BT_UUID_DIS_SOFTWARE_REVISION;
struct bt_uuid *batt_volts_uuid = BT_UUID_GATT_V;
struct bt_uuid *batt_level_uuid = BT_UUID_BAS_BATTERY_LEVEL;

// create params for bt_gatt_read
struct bt_gatt_read_params batt_level_read_params = {
  .func = &read_battery_level_cb,
  .handle_count = 1,
  .single = { .offset = 0 },
};
struct bt_gatt_read_params batt_volts_read_params = {
  .func = &read_battery_volts_cb,
  .handle_count = 1,
  .single = { .offset = 0 },
};
struct bt_gatt_read_params software_rev_read_params = {
  .func = &read_firmware_version_cb,
  .handle_count = 1,
  .single = { .offset = 0 },
};

static void bas_discovery_completed_cb(struct bt_gatt_dm *dm, void *context)
{
  printk("Found service 180f - Battery Service UUID\n");

  batt_level_char = bt_gatt_dm_char_by_uuid(dm, batt_level_uuid);
  batt_volts_char = bt_gatt_dm_char_by_uuid(dm, batt_volts_uuid);

  if(!batt_level_char) {
    printk("Unable to find BT_UUID_BAS_BATTERY_LEVEL\n");
    return;
  }
  if(!batt_volts_char) {
    printk("Unable to find BT_UUID_BAS_BATTERY_VOLTAGE\n");
    return;
  }

  batt_level_read_params.single.handle = batt_level_char->handle + 1;
  batt_volts_read_params.single.handle = batt_volts_char->handle + 1;

  if(bt_gatt_read(sensor_conn, &batt_level_read_params)) {
    printk("Error reading batt_level_char\n");
  }
  if(bt_gatt_read(sensor_conn, &batt_volts_read_params)) {
    printk("Error reading batt_volts_char\n");
  }

  printk("Releasing DM\n");
  bt_gatt_dm_data_release(dm);
  printk("Finished service 0x180f\n");

}

static const struct bt_gatt_dm_cb dis_discovery_cb = {
  .completed = dis_discovery_completed_cb,
};


static void dis_discovery_completed_cb(struct bt_gatt_dm *dm, void *context)
{
  printk("Found service 180a - Device Information Service\n");

  
  software_rev_char = bt_gatt_dm_char_by_uuid(dm, software_rev_uuid);

  if(!software_rev_char) {
    printk("Unable to find BT_UUID_DIS_SOFTWARE_REVISION\n");
    return;
  }
  printk("Found software_rev_char...[0x%04X]\n", software_rev_char->handle);
  software_rev_read_params.single.handle = software_rev_char->handle + 1;
  
  if(bt_gatt_read(sensor_conn, &software_rev_read_params)) {
    printk("Error reading software_rev_char\n");
  }
  printk("Releasing DM\n");
  bt_gatt_dm_data_release(dm);
  printk("Finished service 0x180a\n");

}

static void handle_sensor_connected_work(struct k_work* work_item) {
  char addr[MAC_ADDR_LEN];
  bt_addr_le_to_str(bt_conn_get_dst(sensor_conn), addr, sizeof(addr));
  addr[MAC_ADDR_LEN - 1] = '\0';
  Utilities::write_rgb(255, 100, 200);
  printk("\nPeripheral connected!\n");
  
  int err;
  int start_time = k_uptime_get();
  
  if ((err = bt_gatt_dm_start(sensor_conn, &device_info_uuid.uuid, &dis_discovery_cb, NULL))) {
    printk("Could not start the discovery procedure for Device Information Service, error code: %d\n", err);
  }
  while(strlen(sensor_details.firmware_version) == 0 && k_uptime_get() < start_time + 5000LL) {
    printk("Waiting for dis discovery to complete...\n");
    k_msleep(100);
  }
  if ((err = bt_gatt_dm_start(sensor_conn, &battery_svc_uuid.uuid, &bas_discovery_cb, NULL))) {
    printk("Could not start the discovery procedure for Battery Service, error code: %d\n", err);
  }

  if (!is_adding_new_sensor) {
    is_making_network_request = true;
    int err = network_reqs->handle_send_event(addr, &sensor_details);
    is_making_network_request = false;
    if (err) {
      printk("Unable to send event\n");
      bt_conn_disconnect(sensor_conn, BT_HCI_ERR_REMOTE_USER_TERM_CONN);
      return;
    }
    bt_conn_disconnect(sensor_conn, BT_HCI_ERR_REMOTE_USER_TERM_CONN);
    advertise_start();
  }
}

static void handle_phone_connected_work(struct k_work* work_item) {
  printk("handling phone connection work\n");
  if (bt_bas_set_battery_level(battery_read().percent)) {
    printk("Unable to write battery level char\n");
  }
  // Grab access_token from userId of connected phone
  int64_t start_time = k_uptime_get();
  printk("Trying to read userid...");
  // TODO decrease timeout
  while (strlen(command_char_val) < 7 && phone_conn && k_uptime_get() < start_time + 20000LL) {
    printk(".");
    k_msleep(100);
  }
  if (!phone_conn) return;
  if (!strlen(command_char_val)) {
    bt_conn_disconnect(phone_conn, BT_HCI_ERR_UNACCEPT_CONN_PARAM);
    return;
  }
  printk("\nUserID value: %s\n", command_char_val);

  Command command = Utilities::parse_raw_command(command_char_val);
  if (strcmp(command.type, "UserId") != 0) {
    printk("Error: command.type is not equal to UserId, command.type: %s\n", command.type);
    bt_conn_disconnect(phone_conn, BT_HCI_ERR_UNACCEPT_CONN_PARAM);
    return;
  }
  printk("command.type is UserId\n");

  uint16_t hub_id;
  size_t err_size = 210;
  char err_msg[err_size] = "";
  is_making_network_request = true;
  int err = network_reqs->handle_get_token_and_hub_id(command.value, hub_mac, &hub_id, err_msg);
  is_making_network_request = false;
  if (err) {
    printk("Unable to get token and hub_id\n");
    snprintk(command_char_val, err_size, "Error:%s", err_msg);
    return;
  }
  if (phone_conn) {
    snprintk(command_char_val, 10, "HubId:%d", hub_id++);
    printk("Changed command_char_val to %s\n", command_char_val);
    // TODO Use notify to the command char
    // err = bt_gatt_notify(NULL, &hub_svc.attrs[0], &command_char_val, sizeof(command_char_val));
    // if (err) {
    //   printk("Failed to notify (err 0x%x)\n", err);
    // }
  }
}

static void connected(struct bt_conn* conn, uint8_t err) {
  char addr[MAC_ADDR_LEN];
  bt_addr_le_to_str(bt_conn_get_dst(conn), addr, sizeof(addr));
  addr[MAC_ADDR_LEN - 1] = '\0';
  bool is_sensor = sensor_conn && sensor_conn == conn;
  if (err) {
    printk("Failed to connect to %s (err %u)\n", addr, err);
    if (is_sensor) {
      bt_conn_unref(sensor_conn);
      sensor_conn = NULL;
      start_scan();
    }
    return;
  }

  printk("\n>>> BLE Connected to %s -- MAC: %s\n", is_sensor ? "SENSOR" : "PHONE", addr);

  if (is_sensor) {
    advertise_stop();
    k_work_init(&work, handle_sensor_connected_work);
    k_work_submit_to_queue(&ble_work_q, &work);
  } else {
    phone_conn = bt_conn_ref(conn);
    advertise_stop();
    err = bt_le_scan_stop();
    if (err) {
      printk("Failed to stop scan\n");
    }
    if (!network->has_token()) {
      k_work_init(&work, handle_phone_connected_work);
      err = k_work_submit_to_queue(&ble_work_q, &work);
      if (err < 0) {
        printk("Failed to submit to queue (err 0x%x)\n", err);
      }
    }
  }
  alarm_adv_counter_cancel();
}

static void disconnected(struct bt_conn* conn, uint8_t reason) {
  char addr[MAC_ADDR_LEN];
  if (conn != sensor_conn && conn != phone_conn) {
    return;
  }
  if (!(sensor_conn && phone_conn) && !is_making_network_request) network->set_power(false);
  bt_addr_le_to_str(bt_conn_get_dst(conn), addr, sizeof(addr));
  addr[MAC_ADDR_LEN - 1] = '\0';
  bool is_sensor = sensor_conn && sensor_conn == conn;
  printk("\n>>> BLE Disconnecting from %s -- MAC: %s (reason 0x%02x)\n", is_sensor ? "SENSOR" : "PHONE", addr, reason);

  if (is_sensor) {
    Utilities::write_rgb(0, 0, 0);
    bt_conn_unref(sensor_conn);
    sensor_conn = NULL;
    last_event_time = k_uptime_get();
    printk("Cooling down to prevent peripheral reconnection---");
  } else {
    bt_conn_unref(phone_conn);
    phone_conn = NULL;
    is_adding_new_sensor = false;
    memset(command_char_val, 0, sizeof(command_char_val));
    if (sensor_conn) bt_conn_disconnect(sensor_conn, BT_HCI_ERR_REMOTE_USER_TERM_CONN);
  }
  if (!phone_conn) start_scan();
}

BT_CONN_CB_DEFINE(conn_callbacks) = {
  .connected = connected,
  .disconnected = disconnected,
};

void add_known_sensor(char* addr) {
  strcpy(known_sensor_addrs[known_sensor_addrs_len], addr);
  printk("\tAdded known_sensor_addr: %s\n", known_sensor_addrs[known_sensor_addrs_len]);
  known_sensor_addrs_len++;
}

int diagnostic_trigger(void) {
  return diagnostic_run();
}

int init_ble(NetworkRequests* network_requests, Network* net) {
  network_reqs = network_requests;
  network = net;
  diagnostic_init(network_reqs, network);
  int err = bt_enable(NULL);
  if (IS_ENABLED(CONFIG_TEST)) k_msleep(100);
  if (err) {
    printk("Bluetooth init failed (err %d)\n", err);
    return err;
  } else printk("\tBLE enabled\n");

  err = scan_init();
  if (err) {
    printk("BLE scan init failed (err %d)\n", err);
  } else printk("\tBLE scan initialized\n");

  // Set hub MAC address
  size_t size = 1;
  bt_addr_le_t addrs[size];
  bt_id_get(addrs, &size);
  size = sizeof(addrs[0].a.val);
  // Store bytes backwards to make it easier to read, see declaration for + 2 explanation
  for(int i = 0; i < (uint8_t)size; i++) {
    hub_mac_bytes[i + MANU_ID_LEN] = addrs[0].a.val[size - 1 - i];
  }
  bt_addr_le_to_str(&addrs[0], hub_mac, sizeof(hub_mac));
  hub_mac[MAC_ADDR_LEN - 1] = '\0';
  printk("\tHub MAC initialized as (%s)\n", hub_mac);

  k_work_queue_start(&ble_work_q, ble_stack_area,
    K_THREAD_STACK_SIZEOF(ble_stack_area),
    CONFIG_SYSTEM_WORKQUEUE_PRIORITY + 1, &ble_work_q_config);

  err = alarm_init(&advertise_start, &adv_led_interval_cb, &diagnostic_trigger);
  if (err) {
    printk("Error during alarm_init\n");
  }
  return err;
}
```

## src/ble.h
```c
#ifndef HUB_BLE_H
#define HUB_BLE_H

#include "network_requests.h"
#include "network.h"

#ifdef __cplusplus
extern "C" {
#endif

  // 10 available address slots
  extern char known_sensor_addrs[10][50];
  extern uint8_t known_sensor_addrs_len;

  // Enables Bluetooth, must be called before any other ble functions
  int init_ble(NetworkRequests* network_requests, Network* network);

  /**
   * @return True if ble is advertising or has a connection
   */
  bool ble_is_busy();

  /** Starts advertising
   * @return 0 on success
   */
  int advertise_start(void);

  /** Stops advertising
   * @return 0 on success
   */
  int advertise_stop(void);

  void start_scan(void);

  /**
   * @brief Add a single sensor address to the known_sensor_addrs array
   */
  void add_known_sensor(char* addr);

#ifdef __cplusplus
}
#endif

#endif
```

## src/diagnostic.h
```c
#ifndef HUB_DIAGNOSTIC_H
#define HUB_DIAGNOSTIC_H

#include "network_requests.h"
#include "network.h"

#ifdef __cplusplus
extern "C"
{
#endif

  extern bool diagnostic_running;

  /**
   * @brief Setup pointers needed for network requests
   * @param network_requests Pointer to network requests instance
   * @param net Pointer to network instance
   */
  void diagnostic_init(NetworkRequests *network_requests, Network *net);

  /**
   * @brief Run a full diagnostic test.
   * @param out_result_msg Optional buffer to store result summary in
   * @return 0 on success, other numbers on error
   */
  int diagnostic_run(char* out_result_msg = nullptr);

#ifdef __cplusplus
}
#endif

#endif
```
